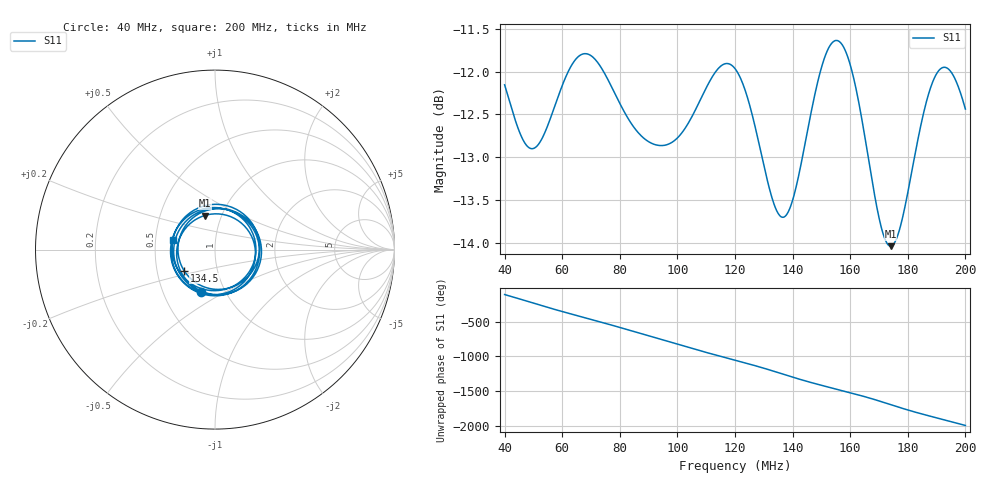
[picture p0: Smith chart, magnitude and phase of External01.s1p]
# Hz S RI R 50
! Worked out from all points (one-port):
!   641 points, 40 MHz to 200 MHz, reference 50 ohm
!   lowest |S11| = -14.0 dB at 174 MHz (marker M1), VSWR 1.50, Z = 41.5 + j16.4 ohm
!   |S11| at or under -10 dB: start of sweep to end of sweep
!   S11 on the Smith chart (normalised r, x): 40 MHz: 0.77, -0.38; 134.5 MHz: 0.69, -0.17; 200 MHz: 0.62, +0.07
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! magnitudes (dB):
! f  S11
! 40 MHz  -12.2
! 45.75 MHz  -12.8
! 49.5 MHz  -12.9
! 53.5 MHz  -12.7
! 60 MHz  -12.2
! 64.5 MHz  -11.9
! 68.75 MHz  -11.8
! 80 MHz  -12.4
! 90 MHz  -12.8
! 100 MHz  -12.8
! 113.8 MHz  -12.0
! 120 MHz  -12.0
! 124.5 MHz  -12.3
! 134.5 MHz  -13.6
! 137.2 MHz  -13.7
! 140 MHz  -13.5
! 148.2 MHz  -12.2
! 151.8 MHz  -11.8
! 156 MHz  -11.6
! 160 MHz  -11.9
! 170 MHz  -13.7
! 174 MHz  -14.0
! 176.8 MHz  -13.9
! 180 MHz  -13.4
! 185.8 MHz  -12.4
! 190.2 MHz  -12.0
! 194.8 MHz  -12.0
! 200 MHz  -12.4
